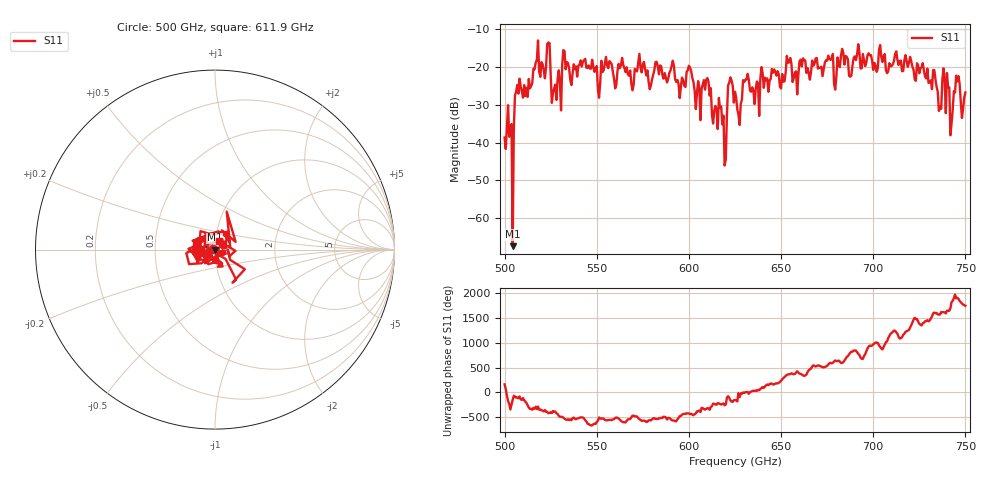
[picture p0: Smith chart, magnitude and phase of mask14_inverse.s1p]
!Created with skrf (http://scikit-rf.org).
# GHz S MA R 50.0
!freq magS11 angS11
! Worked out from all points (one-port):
!   401 points, 500 GHz to 750 GHz, reference 50 ohm
!   lowest |S11| = -67.3 dB at 504.4 GHz (marker M1), VSWR 1.00, Z = 50 - j0.0213 ohm
!   |S11| at or under -10 dB: start of sweep to end of sweep
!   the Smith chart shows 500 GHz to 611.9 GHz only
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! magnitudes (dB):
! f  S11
! 500 GHz  -38.7
! 502.5 GHz  -38.5
! 503.1 GHz  -37.3
! 504.4 GHz  -67.3
! 506.9 GHz  -24.8
! 513.8 GHz  -25.7
! 516.9 GHz  -18.9
! 523.8 GHz  -13.6
! 526.9 GHz  -25.7
! 531.2 GHz  -19.4
! 562.5 GHz  -20.4
! 579.4 GHz  -24.9
! 590.6 GHz  -19.8
! 593.8 GHz  -23.5
! 609.4 GHz  -23.5
! 619.4 GHz  -46.1
! 622.5 GHz  -22.8
! 625 GHz  -26.6
! 656.2 GHz  -24.0
! 687.5 GHz  -22.6
! 691.2 GHz  -16.8
! 718.8 GHz  -20.0
! 733.8 GHz  -23.3
! 735.6 GHz  -31.7
! 738.8 GHz  -23.5
! 743.1 GHz  -31.4
! 745.6 GHz  -23.9
! 750 GHz  -26.8
